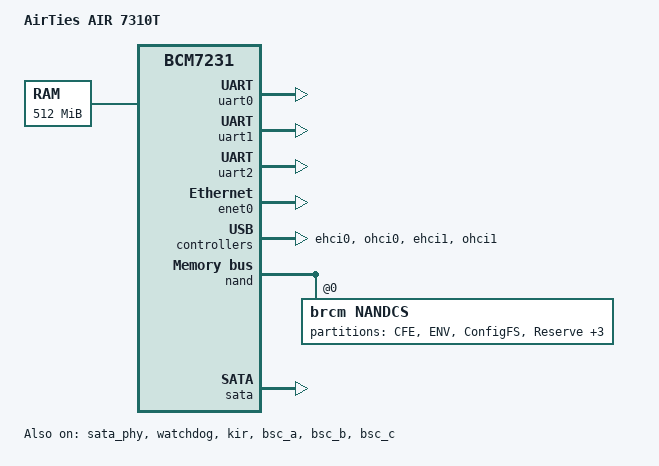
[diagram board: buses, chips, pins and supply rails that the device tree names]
// SPDX-License-Identifier: GPL-2.0
/dts-v1/;

/* 2 MB at 12 MB for the DVB driver (bcm7231-dvb.c), 1 MB per adapter
 * (adapter1 at 0x00c00000, adapter0 at 0x00d00000): its XPT MSG DMA ring
 * (512 KB), then its RS G1, RS G3 and XC staging rings (128 KB each). The
 * unused bands share a 256-byte dummy right after adapter0's (0x00de0000).
 * In the low 16 MB of DRAM, where the rings were validated, clear of the
 * kernel (0..~6 MB). */
/memreserve/ 0x00c00000 0x00200000;

#include "bcm7231.dtsi"

/ {
	compatible = "airties,air7310t", "brcm,bcm7231";
	model = "AirTies AIR 7310T";

	memory@0 {
		device_type = "memory";
		/* 256 MB at 0x00000000 + 256 MB at 0x20000000 */
		reg = <0x00000000 0x10000000>,
		      <0x20000000 0x10000000>;
	};

	/* ramoops (pstore): the kernel log of the boot that ended, kept across a warm reset (watchdog,
	 * panic), lost to a power cut. 1 MB at 128 MB: away from the kernel CFE loads at 0x1000, the
	 * DVB rings at 12 MB and the top of the first bank, where CFE may sit. console: the whole
	 * kernel log as it goes (wdt-pet's last words included); record: a panic's dump; pmsg: what
	 * userspace writes to /dev/pmsg0. */
	reserved-memory {
		#address-cells = <1>;
		#size-cells = <1>;
		ranges;

		ramoops@8000000 {
			compatible = "ramoops";
			reg = <0x08000000 0x00100000>;
			record-size = <0x00020000>;
			console-size = <0x00080000>;
			pmsg-size = <0x00020000>;
			ecc-size = <16>;
		};
	};

	chosen {
		/* libata.force: the SATA link fails 8b/10b decoding (BadCRC, Dispar)
		 * at 6 and 3 Gbps on this board; 1.5 Gbps is stable and still beyond
		 * what a hard disk streams.
		 * rcutree.kthread_prio: RCU kthreads run SCHED_FIFO, so a CPU-bound
		 * network load cannot starve them (48 s stall, box frozen).
		 * ubi.mtd/root=ubi0:rootfs: the rootfs is UBIFS in the UBI volume named
		 * "rootfs" on mtd5 (RootFS), mounted read-only by that name (UBI
		 * handles the NAND's bad blocks, mtdblock did not). By name, not by
		 * volume id: an update writes "rootfs_new" and swaps the names (a root
		 * found by id lost it in such a swap: panic loop, 2026-10-25). */
		bootargs = "console=ttyS0,115200 ubi.mtd=RootFS root=ubi0:rootfs rootfstype=ubifs ro init=/sbin/init libata.force=1.5Gbps rcutree.kthread_prio=10";
		stdout-path = &uart0;
	};
};

&uart0 {
	status = "okay";
};

&uart1 {
	status = "okay";
};

&uart2 {
	status = "okay";
};

&enet0 {
	status = "okay";
};

&ehci0 {
	status = "okay";
};

&ohci0 {
	status = "okay";
};

&ehci1 {
	status = "okay";
};

&ohci1 {
	status = "okay";
};

&nand {
	status = "okay";

	nandcs@0 {
		compatible = "brcm,nandcs";
		reg = <0>;
		nand-on-flash-bbt;

		nand-ecc-strength = <1>;
		nand-ecc-step-size = <512>;
		brcm,nand-oob-sector-size = <16>;

		partitions {
			compatible = "fixed-partitions";
			#address-cells = <1>;
			#size-cells = <1>;

			partition@0 {
				label = "CFE";
				reg = <0x00000000 0x00200000>;
				read-only;
			};

			partition@200000 {
				label = "ENV";
				reg = <0x00200000 0x00100000>;
			};

			partition@300000 {
				label = "ConfigFS";
				reg = <0x00300000 0x00600000>;
			};

			partition@900000 {
				label = "Reserve";
				reg = <0x00900000 0x00a00000>;
			};

			partition@1300000 {
				label = "Kernel";
				reg = <0x01300000 0x00700000>;
			};

			partition@1a00000 {
				label = "RootFS";
				reg = <0x01a00000 0x04600000>;
			};

			partition@6000000 {
				label = "Recovery";
				reg = <0x06000000 0x01c00000>;
			};
		};
	};
};

&sata {
	status = "okay";
};

&sata_phy {
	status = "okay";
};

&watchdog {
	status = "okay";
};

&kir {
	status = "okay";
};

&bsc_a {
	status = "okay";
};

&bsc_b {
	status = "okay";
};

&bsc_c {
	status = "okay";
};
